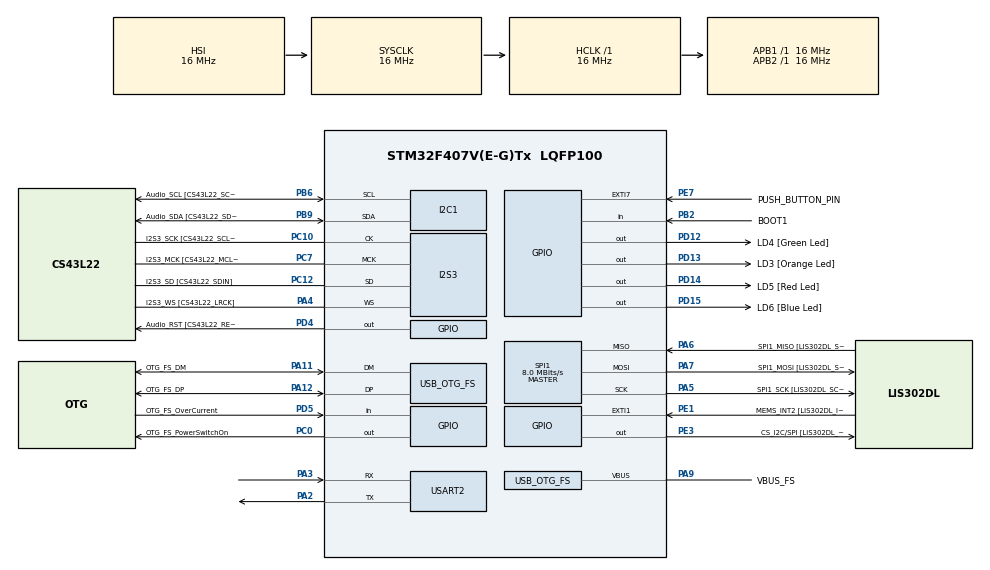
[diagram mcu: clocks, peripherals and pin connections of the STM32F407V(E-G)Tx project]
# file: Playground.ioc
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Dma.Request0=USART2_TX
Dma.USART2_TX.0.Direction=DMA_MEMORY_TO_PERIPH
Dma.USART2_TX.0.FIFOMode=DMA_FIFOMODE_DISABLE
Dma.USART2_TX.0.Instance=DMA1_Stream6
Dma.USART2_TX.0.MemDataAlignment=DMA_MDATAALIGN_BYTE
Dma.USART2_TX.0.MemInc=DMA_MINC_ENABLE
Dma.USART2_TX.0.Mode=DMA_NORMAL
Dma.USART2_TX.0.PeriphDataAlignment=DMA_PDATAALIGN_BYTE
Dma.USART2_TX.0.PeriphInc=DMA_PINC_DISABLE
Dma.USART2_TX.0.Priority=DMA_PRIORITY_LOW
FREERTOS.Tasks01=defaultTask,0,128,StartDefaultTask,Default,NULL,Dynamic,NULL,NULL
FREERTOS.configUSE_NEWLIB_REENTRANT=1
I2S3.AudioFreq-Half_Duplex_Master=I2S_AUDIOFREQ_96K
I2S3.ErrorAudioFreq=-2.34 %
I2S3.ErrorAudioFreq-Half_Duplex_Master=0.8 %
I2S3.FullDuplexMode=I2S_FULLDUPLEXMODE_DISABLE
I2S3.Instance=SPI$Index
I2S3.RealAudioFreq=93.75 KHz
I2S3.RealAudioFreq-Half_Duplex_Master=96.774 KHz
I2S3.VirtualMode=I2S_MODE_MASTER
Mcu.Family=STM32F4
Mcu.Name=STM32F407V(E-G)Tx
Mcu.Package=LQFP100
NVIC.DMA1_Stream6_IRQn=true\:5\:0\:false\:false\:true\:true\:false\:true\:true
NVIC.EXTI9_5_IRQn=true\:5\:0\:false\:false\:true\:true\:true\:true\:true
NVIC.OTG_FS_IRQn=true\:5\:0\:false\:false\:true\:true\:true\:true\:true
NVIC.PriorityGroup=NVIC_PRIORITYGROUP_4
NVIC.TIM1_UP_TIM10_IRQn=true\:15\:0\:false\:false\:true\:false\:false\:true\:true
NVIC.TimeBase=TIM1_UP_TIM10_IRQn
NVIC.TimeBaseIP=TIM1
NVIC.USART2_IRQn=true\:5\:0\:false\:false\:true\:true\:true\:true\:true
PA10.GPIO_Label=OTG_FS_ID
PA10.GPIO_Mode=GPIO_MODE_AF_PP
PA10.GPIO_PuPd=GPIO_NOPULL
PA10.GPIO_Speed=GPIO_SPEED_FREQ_LOW
PA10.Signal=USB_OTG_FS_ID
PA11.GPIO_Label=OTG_FS_DM
PA11.GPIO_Mode=GPIO_MODE_AF_PP
PA11.GPIO_PuPd=GPIO_NOPULL
PA11.GPIO_Speed=GPIO_SPEED_FREQ_LOW
PA11.Mode=Host_Only
PA11.Signal=USB_OTG_FS_DM
PA12.GPIO_Label=OTG_FS_DP
PA12.GPIO_Mode=GPIO_MODE_AF_PP
PA12.GPIO_PuPd=GPIO_NOPULL
PA12.GPIO_Speed=GPIO_SPEED_FREQ_LOW
PA12.Mode=Host_Only
PA12.Signal=USB_OTG_FS_DP
PA13.GPIO_Label=SWDIO
PA13.Mode=Serial_Wire
PA13.Signal=SYS_JTMS-SWDIO
PA14.GPIO_Label=SWCLK
PA14.Mode=Serial_Wire
PA14.Signal=SYS_JTCK-SWCLK
PA2.Mode=Asynchronous
PA2.Signal=USART2_TX
PA3.Mode=Asynchronous
PA3.Signal=USART2_RX
PA4.GPIO_Label=I2S3_WS [CS43L22_LRCK]
PA4.GPIO_Mode=GPIO_MODE_AF_PP
PA4.GPIO_PuPd=GPIO_NOPULL
PA4.GPIO_Speed=GPIO_SPEED_FREQ_LOW
PA4.Mode=Half_Duplex_Master
PA4.Signal=I2S3_WS
PA5.GPIO_Label=SPI1_SCK [LIS302DL_SCL/SPC]
PA5.GPIO_Mode=GPIO_MODE_AF_PP
PA5.GPIO_PuPd=GPIO_NOPULL
PA5.GPIO_Speed=GPIO_SPEED_FREQ_LOW
PA5.Mode=Full_Duplex_Master
PA5.Signal=SPI1_SCK
PA6.GPIO_Label=SPI1_MISO [LIS302DL_SDO]
PA6.GPIO_Mode=GPIO_MODE_AF_PP
PA6.GPIO_PuPd=GPIO_NOPULL
PA6.GPIO_Speed=GPIO_SPEED_FREQ_LOW
PA6.Mode=Full_Duplex_Master
PA6.Signal=SPI1_MISO
PA7.GPIO_Label=SPI1_MOSI [LIS302DL_SDA/SDI/SDO]
PA7.GPIO_Mode=GPIO_MODE_AF_PP
PA7.GPIO_PuPd=GPIO_NOPULL
PA7.GPIO_Speed=GPIO_SPEED_FREQ_LOW
PA7.Mode=Full_Duplex_Master
PA7.Signal=SPI1_MOSI
PA9.GPIO_Label=VBUS_FS
PA9.GPIO_Mode=GPIO_MODE_INPUT
PA9.GPIO_PuPd=GPIO_NOPULL
PA9.Mode=Activate_VBUS
PA9.Signal=USB_OTG_FS_VBUS
PB10.GPIO_Label=CLK_IN [MP45DT02_CLK]
PB10.GPIO_Mode=GPIO_MODE_AF_PP
PB10.GPIO_PuPd=GPIO_NOPULL
PB10.GPIO_Speed=GPIO_SPEED_FREQ_LOW
PB10.Signal=I2S2_CK
PB2.GPIO_Label=BOOT1
PB2.GPIO_Mode=GPIO_MODE_INPUT
PB2.GPIO_PuPd=GPIO_NOPULL
PB2.Signal=GPIO_Input
PB3.GPIO_Label=SWO
PB3.Signal=SYS_JTDO-SWO
PB6.GPIO_Label=Audio_SCL [CS43L22_SCL]
PB6.GPIO_Mode=GPIO_MODE_AF_OD
PB6.GPIO_Pu=GPIO_PULLUP
PB6.GPIO_PuPd=GPIO_NOPULL
PB6.GPIO_Speed=GPIO_SPEED_FREQ_LOW
PB6.Mode=I2C
PB6.Signal=I2C1_SCL
PB9.GPIO_Label=Audio_SDA [CS43L22_SDA]
PB9.GPIO_Mode=GPIO_MODE_AF_OD
PB9.GPIO_Pu=GPIO_PULLUP
PB9.GPIO_PuPd=GPIO_NOPULL
PB9.GPIO_Speed=GPIO_SPEED_FREQ_LOW
PB9.Mode=I2C
PB9.Signal=I2C1_SDA
PC0.GPIO_Label=OTG_FS_PowerSwitchOn
PC0.GPIO_PuPd=GPIO_NOPULL
PC0.GPIO_Speed=GPIO_SPEED_FREQ_LOW
PC0.PinState=GPIO_PIN_SET
PC0.Signal=GPIO_Output
PC10.GPIO_Label=I2S3_SCK [CS43L22_SCLK]
PC10.GPIO_Mode=GPIO_MODE_AF_PP
PC10.GPIO_PuPd=GPIO_NOPULL
PC10.GPIO_Speed=GPIO_SPEED_FREQ_LOW
PC10.Mode=Half_Duplex_Master
PC10.Signal=I2S3_CK
PC12.GPIO_Label=I2S3_SD [CS43L22_SDIN]
PC12.GPIO_Mode=GPIO_MODE_AF_PP
PC12.GPIO_PuPd=GPIO_NOPULL
PC12.GPIO_Speed=GPIO_SPEED_FREQ_LOW
PC12.Mode=Half_Duplex_Master
PC12.Signal=I2S3_SD
PC14-OSC32_IN.GPIO_Label=PC14-OSC32_IN
PC14-OSC32_IN.Mode=LSE-External-Oscillator
PC14-OSC32_IN.Signal=RCC_OSC32_IN
PC15-OSC32_OUT.GPIO_Label=PC15-OSC32_OUT
PC15-OSC32_OUT.Mode=LSE-External-Oscillator
PC15-OSC32_OUT.Signal=RCC_OSC32_OUT
PC3.GPIO_Label=PDM_OUT [MP45DT02_DOUT]
PC3.GPIO_Mode=GPIO_MODE_AF_PP
PC3.GPIO_PuPd=GPIO_NOPULL
PC3.GPIO_Speed=GPIO_SPEED_FREQ_LOW
PC3.Signal=I2S2_SD
PC7.GPIO_Label=I2S3_MCK [CS43L22_MCLK]
PC7.GPIO_Mode=GPIO_MODE_AF_PP
PC7.GPIO_PuPd=GPIO_NOPULL
PC7.GPIO_Speed=GPIO_SPEED_FREQ_LOW
PC7.Mode=Master_Clock_Activated
PC7.Signal=I2S3_MCK
PD12.GPIO_Label=LD4 [Green Led]
PD12.GPIO_PuPd=GPIO_NOPULL
PD12.GPIO_Speed=GPIO_SPEED_FREQ_LOW
PD12.Signal=GPIO_Output
PD13.GPIO_Label=LD3 [Orange Led]
PD13.GPIO_PuPd=GPIO_NOPULL
PD13.GPIO_Speed=GPIO_SPEED_FREQ_LOW
PD13.Signal=GPIO_Output
PD14.GPIO_Label=LD5 [Red Led]
PD14.GPIO_PuPd=GPIO_NOPULL
PD14.GPIO_Speed=GPIO_SPEED_FREQ_LOW
PD14.Signal=GPIO_Output
PD15.GPIO_Label=LD6 [Blue Led]
PD15.GPIO_PuPd=GPIO_NOPULL
PD15.GPIO_Speed=GPIO_SPEED_FREQ_LOW
PD15.Signal=GPIO_Output
PD4.GPIO_Label=Audio_RST [CS43L22_RESET]
PD4.GPIO_PuPd=GPIO_NOPULL
PD4.GPIO_Speed=GPIO_SPEED_FREQ_LOW
PD4.Signal=GPIO_Output
PD5.GPIO_Label=OTG_FS_OverCurrent
PD5.GPIO_Mode=GPIO_MODE_INPUT
PD5.GPIO_PuPd=GPIO_NOPULL
PD5.Signal=GPIO_Input
PE1.GPIO_Label=MEMS_INT2 [LIS302DL_INT2]
PE1.GPIO_ModeDefaultEXTI=GPIO_MODE_EVT_RISING
PE1.GPIO_PuPd=GPIO_NOPULL
PE1.Signal=GPXTI1
PE3.GPIO_Label=CS_I2C/SPI [LIS302DL_CS_I2C/SPI]
PE3.GPIO_PuPd=GPIO_NOPULL
PE3.GPIO_Speed=GPIO_SPEED_FREQ_LOW
PE3.Signal=GPIO_Output
PE7.GPIO_Label=PUSH_BUTTON_PIN
PE7.GPIO_ModeDefaultEXTI=GPIO_MODE_IT_FALLING
PE7.GPIO_PuPd=GPIO_PULLUP
PE7.Signal=GPXTI7
PH0-OSC_IN.GPIO_Label=PH0-OSC_IN
PH0-OSC_IN.Mode=HSE-External-Oscillator
PH0-OSC_IN.Signal=RCC_OSC_IN
PH1-OSC_OUT.GPIO_Label=PH1-OSC_OUT
PH1-OSC_OUT.Mode=HSE-External-Oscillator
PH1-OSC_OUT.Signal=RCC_OSC_OUT
ProjectManager.HeapSize=0x200
ProjectManager.StackSize=0x400
ProjectManager.TargetToolchain=STM32CubeIDE
RCC.48MHZClocksFreq_Value=48000000
RCC.AHBFreq_Value=16000000
RCC.APB1Freq_Value=16000000
RCC.APB1TimFreq_Value=16000000
RCC.APB2Freq_Value=16000000
RCC.APB2TimFreq_Value=16000000
RCC.CortexFreq_Value=16000000
RCC.HCLKFreq_Value=16000000
RCC.HSE_VALUE=8000000
RCC.HSI_VALUE=16000000
RCC.PLLM=8
RCC.PLLN=336
RCC.PLLQ=7
RCC.SYSCLKFreq_VALUE=16000000
RCC.VCOOutputFreq_Value=336000000
SPI1.BaudRatePrescaler=SPI_BAUDRATEPRESCALER_2
SPI1.BaudRatePrescaler-Full_Duplex_Master=SPI_BAUDRATEPRESCALER_2
SPI1.CalculateBaudRate=8.0 MBits/s
SPI1.CalculateBaudRate-Full_Duplex_Master=42.0 MBits/s
SPI1.Direction=SPI_DIRECTION_2LINES
SPI1.Mode=SPI_MODE_MASTER
SPI1.Mode-Full_Duplex_Master=SPI_MODE_MASTER
SPI1.VirtualType=VM_MASTER
USART2.VirtualMode=VM_ASYNC
USB_HOST.BSP.number=1
USB_HOST.USBH_HandleTypeDef-CDC_FS=hUsbHostFS
USB_HOST.USBH_USE_OS-CDC_FS=0
USB_HOST.VirtualModeFS=Cdc
USB_HOST0.BSP.STBoard=false
USB_HOST0.BSP.api=Unknown
USB_HOST0.BSP.instance=PC0
USB_HOST0.BSP.ip=GPIO
USB_HOST0.BSP.mode=Output
USB_HOST0.BSP.name=Drive_VBUS_FS
USB_HOST0.BSP.solution=PC0
USB_OTG_FS.VirtualMode=Host_Only
USB_OTG_FS.phy_itface=HCD_PHY_EMBEDDED
VP_FREERTOS_VS_CMSIS_V1.Mode=CMSIS_V1
VP_SYS_VS_tim1.Mode=TIM1
VP_TIM6_VS_ClockSourceINT.Mode=Enable_Timer
VP_USB_HOST_VS_USB_HOST_CDC_FS.Mode=CDC_FS
board=STM32F407G-DISC1

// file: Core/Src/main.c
/* USER CODE BEGIN Header */
/**
  ******************************************************************************
  * @file           : main.c
  * @brief          : Main program body
  ******************************************************************************
  * @attention
  *
  * Copyright (c) 2025 STMicroelectronics.
  * All rights reserved.
  *
  * This software is licensed under terms that can be found in the LICENSE file
  * in the root directory of this software component.
  * If no LICENSE file comes with this software, it is provided AS-IS.
  *
  ******************************************************************************
  */
/* USER CODE END Header */
#include "main.h"
#include "cmsis_os.h"
#include "usb_host.h"

/* USER CODE BEGIN Includes */
#include "led_control_task.h"
#include "debug_task.h"
#include <stdbool.h>
/* USER CODE END Includes */

I2C_HandleTypeDef hi2c1;

I2S_HandleTypeDef hi2s3;

SPI_HandleTypeDef hspi1;

TIM_HandleTypeDef htim6;

UART_HandleTypeDef huart2;
DMA_HandleTypeDef hdma_usart2_tx;

osThreadId defaultTaskHandle;
/* USER CODE BEGIN PV */

extern QueueHandle_t xQueue;
/* USER CODE END PV */

void SystemClock_Config(void);
static void MX_GPIO_Init(void);
static void MX_DMA_Init(void);
static void MX_I2C1_Init(void);
static void MX_I2S3_Init(void);
static void MX_SPI1_Init(void);
static void MX_TIM6_Init(void);
static void MX_USART2_UART_Init(void);
void StartDefaultTask(void const * argument);

/* USER CODE BEGIN PFP */
static void GPIO_Init(void);

/* USER CODE END PFP */

int main(void)
{

  /* MCU Configuration--------------------------------------------------------*/

  /* Reset of all peripherals, Initializes the Flash interface and the Systick. */
  HAL_Init();

  /* Configure the system clock */
  SystemClock_Config();

  /* Initialize all configured peripherals */
  MX_GPIO_Init();
  MX_DMA_Init();
  MX_I2C1_Init();
  MX_I2S3_Init();
  MX_SPI1_Init();
  MX_TIM6_Init();
  MX_USART2_UART_Init();
  /* USER CODE BEGIN 2 */
  GPIO_Init();

  /* USER CODE END 2 */

  /* Create the thread(s) */
  /* definition and creation of defaultTask */
  osThreadDef(defaultTask, StartDefaultTask, osPriorityNormal, 0, 128);
  defaultTaskHandle = osThreadCreate(osThread(defaultTask), NULL);

  /* USER CODE BEGIN RTOS_THREADS */
  /* add threads, ... */
  create_led_control_task();
  create_debug_task();
  /*Timer start should be after the creation of the task that it will try to notify, otherwise stalls.*/
  HAL_TIM_Base_Start_IT(&htim6);

  /* USER CODE END RTOS_THREADS */

  /* Start scheduler */
  osKernelStart();

  /* We should never get here as control is now taken by the scheduler */

  /* Infinite loop */
  while (1)
  {

  }
}

void SystemClock_Config(void)
{
  RCC_OscInitTypeDef RCC_OscInitStruct = {0};
  RCC_ClkInitTypeDef RCC_ClkInitStruct = {0};

  /** Configure the main internal regulator output voltage
  */
  __HAL_RCC_PWR_CLK_ENABLE();
  __HAL_PWR_VOLTAGESCALING_CONFIG(PWR_REGULATOR_VOLTAGE_SCALE1);

  /** Initializes the RCC Oscillators according to the specified parameters
  * in the RCC_OscInitTypeDef structure.
  */
  RCC_OscInitStruct.OscillatorType = RCC_OSCILLATORTYPE_HSI|RCC_OSCILLATORTYPE_HSE;
  RCC_OscInitStruct.HSEState = RCC_HSE_ON;
  RCC_OscInitStruct.HSIState = RCC_HSI_ON;
  RCC_OscInitStruct.HSICalibrationValue = RCC_HSICALIBRATION_DEFAULT;
  RCC_OscInitStruct.PLL.PLLState = RCC_PLL_ON;
  RCC_OscInitStruct.PLL.PLLSource = RCC_PLLSOURCE_HSE;
  RCC_OscInitStruct.PLL.PLLM = 8;
  RCC_OscInitStruct.PLL.PLLN = 336;
  RCC_OscInitStruct.PLL.PLLP = RCC_PLLP_DIV2;
  RCC_OscInitStruct.PLL.PLLQ = 7;
  if (HAL_RCC_OscConfig(&RCC_OscInitStruct) != HAL_OK)
  {
    Error_Handler();
  }

  /** Initializes the CPU, AHB and APB buses clocks
  */
  RCC_ClkInitStruct.ClockType = RCC_CLOCKTYPE_HCLK|RCC_CLOCKTYPE_SYSCLK
                              |RCC_CLOCKTYPE_PCLK1|RCC_CLOCKTYPE_PCLK2;
  RCC_ClkInitStruct.SYSCLKSource = RCC_SYSCLKSOURCE_HSI;
  RCC_ClkInitStruct.AHBCLKDivider = RCC_SYSCLK_DIV1;
  RCC_ClkInitStruct.APB1CLKDivider = RCC_HCLK_DIV1;
  RCC_ClkInitStruct.APB2CLKDivider = RCC_HCLK_DIV1;

  if (HAL_RCC_ClockConfig(&RCC_ClkInitStruct, FLASH_LATENCY_0) != HAL_OK)
  {
    Error_Handler();
  }
}

static void MX_I2C1_Init(void)
{

  hi2c1.Instance = I2C1;
  hi2c1.Init.ClockSpeed = 100000;
  hi2c1.Init.DutyCycle = I2C_DUTYCYCLE_2;
  hi2c1.Init.OwnAddress1 = 0;
  hi2c1.Init.AddressingMode = I2C_ADDRESSINGMODE_7BIT;
  hi2c1.Init.DualAddressMode = I2C_DUALADDRESS_DISABLE;
  hi2c1.Init.OwnAddress2 = 0;
  hi2c1.Init.GeneralCallMode = I2C_GENERALCALL_DISABLE;
  hi2c1.Init.NoStretchMode = I2C_NOSTRETCH_DISABLE;
  if (HAL_I2C_Init(&hi2c1) != HAL_OK)
  {
    Error_Handler();
  }

}

static void MX_I2S3_Init(void)
{

  hi2s3.Instance = SPI3;
  hi2s3.Init.Mode = I2S_MODE_MASTER_TX;
  hi2s3.Init.Standard = I2S_STANDARD_PHILIPS;
  hi2s3.Init.DataFormat = I2S_DATAFORMAT_16B;
  hi2s3.Init.MCLKOutput = I2S_MCLKOUTPUT_ENABLE;
  hi2s3.Init.AudioFreq = I2S_AUDIOFREQ_96K;
  hi2s3.Init.CPOL = I2S_CPOL_LOW;
  hi2s3.Init.ClockSource = I2S_CLOCK_PLL;
  hi2s3.Init.FullDuplexMode = I2S_FULLDUPLEXMODE_DISABLE;
  if (HAL_I2S_Init(&hi2s3) != HAL_OK)
  {
    Error_Handler();
  }

}

static void MX_SPI1_Init(void)
{

  /* SPI1 parameter configuration*/
  hspi1.Instance = SPI1;
  hspi1.Init.Mode = SPI_MODE_MASTER;
  hspi1.Init.Direction = SPI_DIRECTION_2LINES;
  hspi1.Init.DataSize = SPI_DATASIZE_8BIT;
  hspi1.Init.CLKPolarity = SPI_POLARITY_LOW;
  hspi1.Init.CLKPhase = SPI_PHASE_1EDGE;
  hspi1.Init.NSS = SPI_NSS_SOFT;
  hspi1.Init.BaudRatePrescaler = SPI_BAUDRATEPRESCALER_2;
  hspi1.Init.FirstBit = SPI_FIRSTBIT_MSB;
  hspi1.Init.TIMode = SPI_TIMODE_DISABLE;
  hspi1.Init.CRCCalculation = SPI_CRCCALCULATION_DISABLE;
  hspi1.Init.CRCPolynomial = 10;
  if (HAL_SPI_Init(&hspi1) != HAL_OK)
  {
    Error_Handler();
  }

}

static void MX_TIM6_Init(void)
{

  TIM_MasterConfigTypeDef sMasterConfig = {0};

  htim6.Instance = TIM6;
  htim6.Init.Prescaler = 127;
  htim6.Init.CounterMode = TIM_COUNTERMODE_UP;
  htim6.Init.Period = 62499;
  htim6.Init.AutoReloadPreload = TIM_AUTORELOAD_PRELOAD_DISABLE;
  if (HAL_TIM_Base_Init(&htim6) != HAL_OK)
  {
    Error_Handler();
  }
  sMasterConfig.MasterOutputTrigger = TIM_TRGO_RESET;
  sMasterConfig.MasterSlaveMode = TIM_MASTERSLAVEMODE_DISABLE;
  if (HAL_TIMEx_MasterConfigSynchronization(&htim6, &sMasterConfig) != HAL_OK)
  {
    Error_Handler();
  }
  /* USER CODE BEGIN TIM6_Init 2 */

  HAL_NVIC_EnableIRQ(TIM6_DAC_IRQn);

  //Set interrupt priority, should be greater or equal to configMAX_SYSCALL_INTERRUPT_PRIORITY
  HAL_NVIC_SetPriority(TIM6_DAC_IRQn, 6, 6);

  /* USER CODE END TIM6_Init 2 */

}

static void MX_USART2_UART_Init(void)
{

  huart2.Instance = USART2;
  huart2.Init.BaudRate = 115200;
  huart2.Init.WordLength = UART_WORDLENGTH_8B;
  huart2.Init.StopBits = UART_STOPBITS_1;
  huart2.Init.Parity = UART_PARITY_NONE;
  huart2.Init.Mode = UART_MODE_TX_RX;
  huart2.Init.HwFlowCtl = UART_HWCONTROL_NONE;
  huart2.Init.OverSampling = UART_OVERSAMPLING_16;
  if (HAL_UART_Init(&huart2) != HAL_OK)
  {
    Error_Handler();
  }

}

static void MX_DMA_Init(void)
{

  /* DMA controller clock enable */
  __HAL_RCC_DMA1_CLK_ENABLE();

  /* DMA interrupt init */
  /* DMA1_Stream6_IRQn interrupt configuration */
  HAL_NVIC_SetPriority(DMA1_Stream6_IRQn, 5, 0);
  HAL_NVIC_EnableIRQ(DMA1_Stream6_IRQn);

}

static void MX_GPIO_Init(void)
{
  GPIO_InitTypeDef GPIO_InitStruct = {0};

  /* GPIO Ports Clock Enable */
  __HAL_RCC_GPIOE_CLK_ENABLE();
  __HAL_RCC_GPIOC_CLK_ENABLE();
  __HAL_RCC_GPIOH_CLK_ENABLE();
  __HAL_RCC_GPIOA_CLK_ENABLE();
  __HAL_RCC_GPIOB_CLK_ENABLE();
  __HAL_RCC_GPIOD_CLK_ENABLE();

  /*Configure GPIO pin Output Level */
  HAL_GPIO_WritePin(CS_I2C_SPI_GPIO_Port, CS_I2C_SPI_Pin, GPIO_PIN_RESET);

  /*Configure GPIO pin Output Level */
  HAL_GPIO_WritePin(OTG_FS_PowerSwitchOn_GPIO_Port, OTG_FS_PowerSwitchOn_Pin, GPIO_PIN_SET);

  /*Configure GPIO pin Output Level */
  HAL_GPIO_WritePin(GPIOD, LD4_Pin|LD3_Pin|LD5_Pin|LD6_Pin
                          |Audio_RST_Pin, GPIO_PIN_RESET);

  /*Configure GPIO pin : CS_I2C_SPI_Pin */
  GPIO_InitStruct.Pin = CS_I2C_SPI_Pin;
  GPIO_InitStruct.Mode = GPIO_MODE_OUTPUT_PP;
  GPIO_InitStruct.Pull = GPIO_NOPULL;
  GPIO_InitStruct.Speed = GPIO_SPEED_FREQ_LOW;
  HAL_GPIO_Init(CS_I2C_SPI_GPIO_Port, &GPIO_InitStruct);

  /*Configure GPIO pin : OTG_FS_PowerSwitchOn_Pin */
  GPIO_InitStruct.Pin = OTG_FS_PowerSwitchOn_Pin;
  GPIO_InitStruct.Mode = GPIO_MODE_OUTPUT_PP;
  GPIO_InitStruct.Pull = GPIO_NOPULL;
  GPIO_InitStruct.Speed = GPIO_SPEED_FREQ_LOW;
  HAL_GPIO_Init(OTG_FS_PowerSwitchOn_GPIO_Port, &GPIO_InitStruct);

  /*Configure GPIO pin : PDM_OUT_Pin */
  GPIO_InitStruct.Pin = PDM_OUT_Pin;
  GPIO_InitStruct.Mode = GPIO_MODE_AF_PP;
  GPIO_InitStruct.Pull = GPIO_NOPULL;
  GPIO_InitStruct.Speed = GPIO_SPEED_FREQ_LOW;
  GPIO_InitStruct.Alternate = GPIO_AF5_SPI2;
  HAL_GPIO_Init(PDM_OUT_GPIO_Port, &GPIO_InitStruct);

  /*Configure GPIO pin : BOOT1_Pin */
  GPIO_InitStruct.Pin = BOOT1_Pin;
  GPIO_InitStruct.Mode = GPIO_MODE_INPUT;
  GPIO_InitStruct.Pull = GPIO_NOPULL;
  HAL_GPIO_Init(BOOT1_GPIO_Port, &GPIO_InitStruct);

  /*Configure GPIO pin : PUSH_BUTTON_PIN_Pin */
  GPIO_InitStruct.Pin = PUSH_BUTTON_PIN_Pin;
  GPIO_InitStruct.Mode = GPIO_MODE_IT_FALLING;
  GPIO_InitStruct.Pull = GPIO_PULLUP;
  HAL_GPIO_Init(PUSH_BUTTON_PIN_GPIO_Port, &GPIO_InitStruct);

  /*Configure GPIO pin : CLK_IN_Pin */
  GPIO_InitStruct.Pin = CLK_IN_Pin;
  GPIO_InitStruct.Mode = GPIO_MODE_AF_PP;
  GPIO_InitStruct.Pull = GPIO_NOPULL;
  GPIO_InitStruct.Speed = GPIO_SPEED_FREQ_LOW;
  GPIO_InitStruct.Alternate = GPIO_AF5_SPI2;
  HAL_GPIO_Init(CLK_IN_GPIO_Port, &GPIO_InitStruct);

  /*Configure GPIO pins : LD4_Pin LD3_Pin LD5_Pin LD6_Pin
                           Audio_RST_Pin */
  GPIO_InitStruct.Pin = LD4_Pin|LD3_Pin|LD5_Pin|LD6_Pin
                          |Audio_RST_Pin;
  GPIO_InitStruct.Mode = GPIO_MODE_OUTPUT_PP;
  GPIO_InitStruct.Pull = GPIO_NOPULL;
  GPIO_InitStruct.Speed = GPIO_SPEED_FREQ_LOW;
  HAL_GPIO_Init(GPIOD, &GPIO_InitStruct);

  /*Configure GPIO pin : OTG_FS_OverCurrent_Pin */
  GPIO_InitStruct.Pin = OTG_FS_OverCurrent_Pin;
  GPIO_InitStruct.Mode = GPIO_MODE_INPUT;
  GPIO_InitStruct.Pull = GPIO_NOPULL;
  HAL_GPIO_Init(OTG_FS_OverCurrent_GPIO_Port, &GPIO_InitStruct);

  /*Configure GPIO pin : MEMS_INT2_Pin */
  GPIO_InitStruct.Pin = MEMS_INT2_Pin;
  GPIO_InitStruct.Mode = GPIO_MODE_EVT_RISING;
  GPIO_InitStruct.Pull = GPIO_NOPULL;
  HAL_GPIO_Init(MEMS_INT2_GPIO_Port, &GPIO_InitStruct);

  /* EXTI interrupt init*/
  HAL_NVIC_SetPriority(EXTI9_5_IRQn, 5, 0);
  HAL_NVIC_EnableIRQ(EXTI9_5_IRQn);

}

/* USER CODE BEGIN 4 */
static void GPIO_Init(void)
{
	GPIO_InitTypeDef led_pin;

	led_pin.Mode = GPIO_MODE_OUTPUT_PP;
	led_pin.Pin = GPIO_PIN_6;
	led_pin.Pull = GPIO_NOPULL;

	HAL_GPIO_Init(GPIOC, &led_pin);
	HAL_GPIO_WritePin(GPIOC, led_pin.Pin, GPIO_PIN_RESET);
}

void HAL_GPIO_EXTI_Callback(uint16_t GPIO_Pin)
{
	if(GPIO_Pin == PUSH_BUTTON_PIN_Pin)
	{
		debug_print_from_isr("Hello world from ISR\r\n");
	}
	else
	{
		__NOP();

	}
}
/* USER CODE END 4 */

void StartDefaultTask(void const * argument)
{
  /* init code for USB_HOST */
  MX_USB_HOST_Init();
  for(;;)
  {
    osDelay(1);
  }
}

void HAL_TIM_PeriodElapsedCallback(TIM_HandleTypeDef *htim)
{
  if (htim->Instance == TIM1)
  {
    HAL_IncTick();
  }
  /* USER CODE BEGIN Callback 1 */
  else if(htim->Instance == TIM6)
  {
	notify_task_from_isr((uint32_t)NOTIFY_TOGGLE_LED);

  }
  /* USER CODE END Callback 1 */
}

void Error_Handler(void)
{
  __disable_irq();
  while (1)
  {
  }
}
